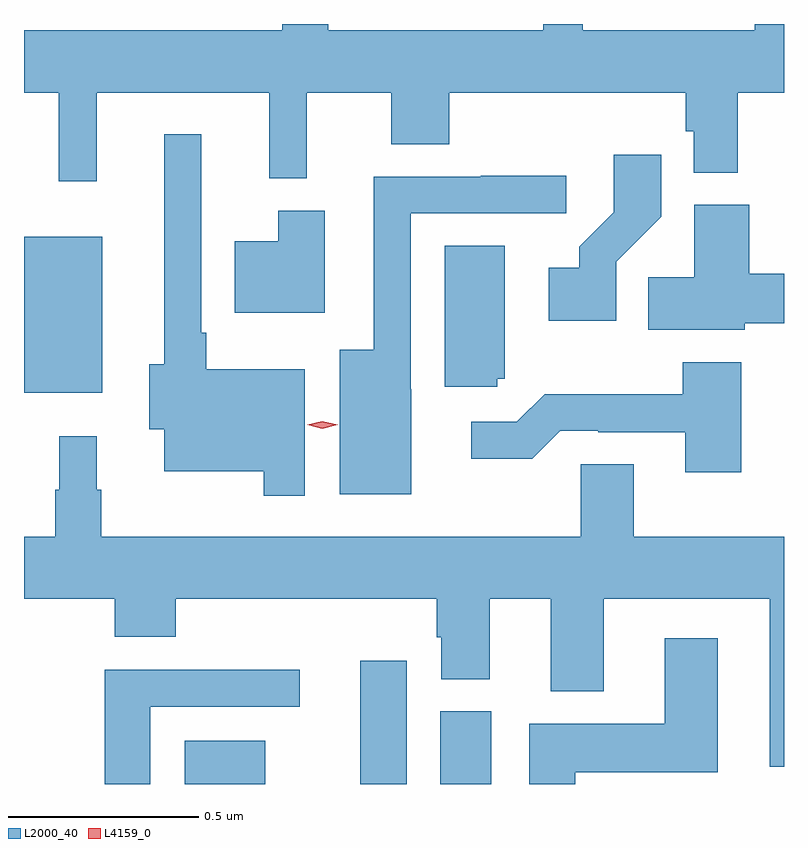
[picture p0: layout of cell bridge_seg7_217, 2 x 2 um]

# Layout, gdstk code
import gdstk
lib = gdstk.Library(unit=1e-6, precision=1e-09)
def R(c, l, rs):  # rectangles x0, y0, x1, y1
    for r in rs: c.add(gdstk.rectangle(r[:2], r[2:], *l))
def P(c, l, *ps):  # polygons
    for p in ps: c.add(gdstk.Polygon(p, *l))
L2000_40 = (2000, 40)
L4159_0 = (4159, 0)

bridge_seg7_217 = lib.new_cell('bridge_seg7_217')
R(bridge_seg7_217, L2000_40, [(122.942,1017.445,123.154,1017.559), (123.404,1017.445,123.526,1017.769), (123.614,1017.445,123.748,1017.636), (122.519,1018.475,122.725,1018.885)])
P(bridge_seg7_217, L2000_40, [(122.711,1019.264),(123.164,1019.264),(123.164,1019.039),(123.263,1019.039),(123.263,1019.264),(123.485,1019.264),(123.485,1019.128),(123.638,1019.128),(123.638,1019.264),(124.261,1019.264),(124.261,1019.163),(124.281,1019.163),(124.281,1019.054),(124.397,1019.054),(124.397,1019.264),(124.519,1019.264),(124.519,1019.445),(124.442,1019.445),(124.442,1019.428),(123.989,1019.428),(123.989,1019.445),(123.886,1019.445),(123.886,1019.428),(123.319,1019.428),(123.319,1019.445),(123.198,1019.445),(123.198,1019.428),(122.519,1019.428),(122.519,1019.264),(122.611,1019.264),(122.611,1019.031),(122.711,1019.031)],
  [(123.258,1018.537),(122.998,1018.537),(122.998,1018.633),(122.985,1018.633),(122.985,1019.155),(122.888,1019.155),(122.888,1018.55),(122.849,1018.55),(122.849,1018.379),(122.888,1018.379),(122.888,1018.268),(123.15,1018.268),(123.15,1018.203),(123.258,1018.203)],
  [(124.077,1018.819),(124.196,1018.938),(124.196,1019.101),(124.071,1019.101),(124.071,1018.949),(123.98,1018.859),(123.98,1018.804),(123.9,1018.804),(123.9,1018.664),(124.077,1018.664)],
  [(123.538,1018.484),(123.537,1018.484),(123.537,1018.947),(123.946,1018.947),(123.946,1019.046),(123.721,1019.046),(123.721,1019.043),(123.44,1019.043),(123.44,1018.588),(123.35,1018.588),(123.35,1018.208),(123.538,1018.208)],
  [(124.416,1018.658),(124.519,1018.658),(124.519,1018.788),(124.428,1018.788),(124.428,1018.969),(124.283,1018.969),(124.283,1018.778),(124.162,1018.778),(124.162,1018.64),(124.416,1018.64)],
  [(123.31,1018.954),(123.188,1018.954),(123.188,1018.873),(123.074,1018.873),(123.074,1018.685),(123.31,1018.685)],
  [(123.765,1018.512),(123.784,1018.512),(123.784,1018.861),(123.626,1018.861),(123.626,1018.491),(123.765,1018.491)],
  [(124.407,1018.555),(124.252,1018.555),(124.252,1018.471),(123.889,1018.471),(123.816,1018.398),(123.696,1018.398),(123.696,1018.301),(123.857,1018.301),(123.93,1018.374),(124.03,1018.374),(124.03,1018.371),(124.259,1018.371),(124.259,1018.266),(124.407,1018.266)],
  [(124.519,1018.096),(124.123,1018.096),(124.123,1018.286),(123.984,1018.286),(123.984,1018.096),(122.722,1018.096),(122.722,1018.22),(122.71,1018.22),(122.71,1018.36),(122.612,1018.36),(122.612,1018.22),(122.601,1018.22),(122.601,1018.096),(122.519,1018.096),(122.519,1017.932),(122.758,1017.932),(122.758,1017.833),(122.918,1017.833),(122.918,1017.932),(123.605,1017.932),(123.605,1017.831),(123.617,1017.831),(123.617,1017.721),(123.745,1017.721),(123.745,1017.932),(123.905,1017.932),(123.905,1017.689),(124.045,1017.689),(124.045,1017.932),(124.481,1017.932),(124.481,1017.491),(124.519,1017.491)],
  [(123.97,1017.476),(124.345,1017.476),(124.345,1017.829),(124.205,1017.829),(124.205,1017.604),(123.848,1017.604),(123.848,1017.445),(123.97,1017.445)],
  [(122.851,1017.648),(123.244,1017.648),(123.244,1017.746),(122.731,1017.746),(122.731,1017.445),(122.851,1017.445)])
P(bridge_seg7_217, L4159_0, [(123.304,1018.38),(123.264,1018.39),(123.264,1018.39),(123.264,1018.39),(123.304,1018.4),(123.345,1018.39),(123.345,1018.39),(123.345,1018.39)])

lib.write_gds('bridge_seg7_217.gds')
